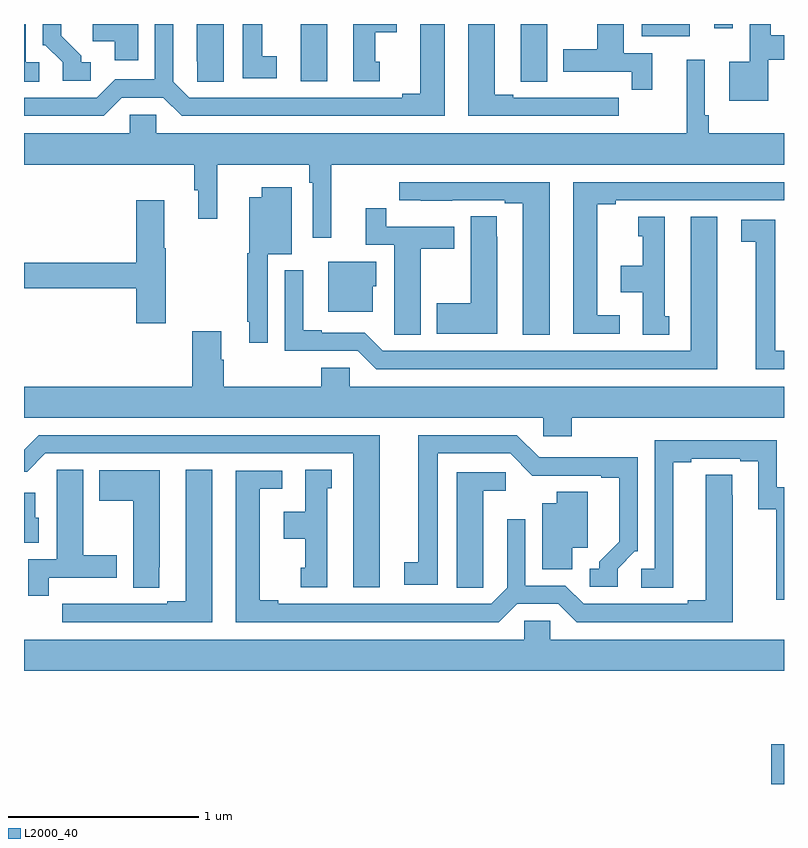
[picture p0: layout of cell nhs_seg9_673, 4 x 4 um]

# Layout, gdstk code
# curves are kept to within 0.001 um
import gdstk
lib = gdstk.Library(unit=1e-6, precision=1e-09)
def R(c, l, rs):  # rectangles x0, y0, x1, y1
    for r in rs: c.add(gdstk.rectangle(r[:2], r[2:], *l))
def P(c, l, *ps):  # polygons
    for p in ps: c.add(gdstk.Polygon(p, *l))
L2000_40 = (2000, 40)

nhs_seg9_673 = lib.new_cell('nhs_seg9_673')
R(nhs_seg9_673, L2000_40, [(148.934,1186.5,149,1186.708), (146.456,1190.199,146.596,1190.5), (148.25,1190.435,148.504,1190.5), (148.634,1190.478,148.731,1190.5)])
P(nhs_seg9_673, L2000_40, [(148.307,1190.346),(148.156,1190.346),(148.156,1190.5),(148.016,1190.5),(148.016,1190.367),(147.839,1190.367),(147.839,1190.25),(148.198,1190.25),(148.198,1190.154),(148.307,1190.154)],
  [(146.05,1190.5),(145.91,1190.5),(145.91,1190.305),(145.911,1190.305),(145.911,1190.197),(146.05,1190.197)],
  [(145.081,1190.298),(145.008,1190.298),(145.008,1190.5),(145,1190.5),(145,1190.197),(145.081,1190.197)],
  [(148.918,1190.312),(149,1190.312),(149,1190.442),(148.93,1190.442),(148.93,1190.5),(148.821,1190.5),(148.821,1190.302),(148.712,1190.302),(148.712,1190.096),(148.918,1190.096)],
  [(148.129,1190.112),(148.016,1190.112),(148.016,1190.113),(147.85,1190.113),(147.85,1190.112),(147.574,1190.112),(147.574,1190.127),(147.478,1190.127),(147.478,1190.5),(147.338,1190.5),(147.338,1190.016),(148.129,1190.016)],
  [(146.872,1190.301),(146.848,1190.301),(146.848,1190.456),(146.962,1190.456),(146.962,1190.5),(146.732,1190.5),(146.732,1190.199),(146.872,1190.199)],
  [(145.515,1190.112),(145.733,1190.112),(145.829,1190.016),(147.214,1190.016),(147.214,1190.5),(147.086,1190.5),(147.086,1190.132),(146.99,1190.132),(146.99,1190.112),(145.869,1190.112),(145.785,1190.196),(145.785,1190.5),(145.689,1190.5),(145.689,1190.208),(145.479,1190.208),(145.383,1190.112),(145,1190.112),(145,1190.016),(145.419,1190.016)],
  [(146.329,1190.33),(146.254,1190.33),(146.254,1190.5),(146.15,1190.5),(146.15,1190.214),(146.329,1190.214)],
  [(145.351,1190.298),(145.3,1190.298),(145.3,1190.333),(145.195,1190.438),(145.195,1190.5),(145.098,1190.5),(145.098,1190.388),(145.113,1190.388),(145.203,1190.298),(145.203,1190.202),(145.351,1190.202)],
  [(147.754,1190.5),(147.614,1190.5),(147.614,1190.305),(147.615,1190.305),(147.615,1190.197),(147.754,1190.197)],
  [(145.6,1190.5),(145.361,1190.5),(145.361,1190.408),(145.478,1190.408),(145.478,1190.31),(145.6,1190.31)],
  [(146.618,1189.76),(149,1189.76),(149,1189.924),(148.604,1189.924),(148.604,1190.02),(148.584,1190.02),(148.584,1190.311),(148.487,1190.311),(148.487,1189.924),(145.695,1189.924),(145.695,1190.022),(145.557,1190.022),(145.557,1189.924),(145,1189.924),(145,1189.76),(145.897,1189.76),(145.897,1189.626),(145.916,1189.626),(145.916,1189.476),(146.016,1189.476),(146.016,1189.76),(146.5,1189.76),(146.5,1189.664),(146.52,1189.664),(146.52,1189.374),(146.618,1189.374)],
  [(147.766,1189.668),(146.976,1189.668),(146.976,1189.572),(147.088,1189.572),(147.088,1189.571),(147.254,1189.571),(147.254,1189.572),(147.53,1189.572),(147.53,1189.557),(147.626,1189.557),(147.626,1188.865),(147.766,1188.865)],
  [(148.135,1188.966),(148.018,1188.966),(148.018,1189.552),(148.114,1189.552),(148.114,1189.572),(149,1189.572),(149,1189.668),(147.89,1189.668),(147.89,1188.87),(148.135,1188.87)],
  [(146.283,1189.289),(146.41,1189.289),(146.41,1189.642),(146.252,1189.642),(146.252,1189.588),(146.186,1189.588),(146.186,1189.293),(146.175,1189.293),(146.175,1188.934),(146.186,1188.934),(146.186,1188.822),(146.283,1188.822)],
  [(145.746,1189.321),(145.738,1189.321),(145.738,1189.573),(145.592,1189.573),(145.592,1189.244),(145,1189.244),(145,1189.108),(145.592,1189.108),(145.592,1188.924),(145.746,1188.924)],
  [(147.088,1189.318),(147.265,1189.318),(147.265,1189.434),(146.906,1189.434),(146.906,1189.531),(146.798,1189.531),(146.798,1189.338),(146.948,1189.338),(146.948,1188.976),(146.949,1188.976),(146.949,1188.865),(147.088,1188.865)],
  [(147.49,1189.379),(147.489,1189.379),(147.489,1189.487),(147.35,1189.487),(147.35,1189.029),(147.173,1189.029),(147.173,1188.869),(147.49,1188.869)],
  [(148.648,1189.486),(148.508,1189.486),(148.508,1188.78),(146.889,1188.78),(146.793,1188.876),(146.566,1188.876),(146.566,1188.889),(146.47,1188.889),(146.47,1189.204),(146.373,1189.204),(146.373,1188.78),(146.757,1188.78),(146.853,1188.684),(148.648,1188.684)],
  [(148.396,1188.963),(148.372,1188.963),(148.372,1189.486),(148.232,1189.486),(148.232,1189.383),(148.256,1189.383),(148.256,1189.228),(148.142,1189.228),(148.142,1189.088),(148.256,1189.088),(148.256,1188.865),(148.396,1188.865)],
  [(149,1188.78),(148.954,1188.78),(148.954,1189.47),(148.776,1189.47),(148.776,1189.354),(148.85,1189.354),(148.85,1188.684),(149,1188.684)],
  [(146.836,1189.119),(146.854,1189.119),(146.854,1189.249),(146.6,1189.249),(146.6,1188.986),(146.836,1188.986)],
  [(147.884,1188.428),(149,1188.428),(149,1188.592),(146.715,1188.592),(146.715,1188.69),(146.564,1188.69),(146.564,1188.592),(146.051,1188.592),(146.051,1188.734),(146.038,1188.734),(146.038,1188.883),(145.886,1188.883),(145.886,1188.592),(145,1188.592),(145,1188.428),(147.732,1188.428),(147.732,1188.33),(147.884,1188.33)],
  [(148.125,1187.634),(148.215,1187.724),(148.23,1187.724),(148.23,1188.221),(147.967,1188.221),(147.967,1188.219),(147.711,1188.219),(147.594,1188.336),(147.074,1188.336),(147.074,1187.666),(147,1187.666),(147,1187.55),(147.178,1187.55),(147.178,1188.24),(147.558,1188.24),(147.676,1188.122),(148.037,1188.123),(148.037,1188.111),(148.133,1188.111),(148.133,1187.774),(148.028,1187.669),(148.028,1187.634),(147.978,1187.634),(147.978,1187.538),(148.125,1187.538)],
  [(146.872,1188.336),(145.077,1188.336),(145,1188.259),(145,1188.144),(145.017,1188.144),(145.113,1188.24),(146.732,1188.24),(146.732,1187.535),(146.872,1187.535)],
  [(149,1188.063),(148.962,1188.063),(148.962,1188.309),(148.32,1188.309),(148.32,1187.634),(148.248,1187.634),(148.248,1187.533),(148.417,1187.533),(148.417,1188.193),(148.513,1188.193),(148.513,1188.213),(148.769,1188.213),(148.769,1188.198),(148.865,1188.198),(148.865,1187.947),(148.96,1187.947),(148.96,1187.469),(149,1187.469)],
  [(145.13,1187.586),(145.489,1187.586),(145.489,1187.703),(145.312,1187.703),(145.312,1188.155),(145.173,1188.155),(145.173,1188.044),(145.172,1188.044),(145.172,1187.682),(145.022,1187.682),(145.022,1187.49),(145.13,1187.49)],
  [(145.99,1188.155),(145.85,1188.155),(145.85,1187.463),(145.754,1187.463),(145.754,1187.448),(145.478,1187.448),(145.478,1187.449),(145.312,1187.449),(145.312,1187.448),(145.2,1187.448),(145.2,1187.352),(145.99,1187.352)],
  [(146.596,1188.057),(146.62,1188.057),(146.62,1188.155),(146.48,1188.155),(146.48,1187.932),(146.366,1187.932),(146.366,1187.792),(146.48,1187.792),(146.48,1187.637),(146.456,1187.637),(146.456,1187.535),(146.596,1187.535)],
  [(145.713,1187.641),(145.714,1187.641),(145.714,1188.151),(145.397,1188.151),(145.397,1187.992),(145.574,1187.992),(145.574,1187.533),(145.713,1187.533)],
  [(147.595,1187.448),(147.813,1187.448),(147.909,1187.352),(148.729,1187.352),(148.728,1188.128),(148.589,1188.128),(148.589,1187.468),(148.493,1187.468),(148.493,1187.448),(147.945,1187.448),(147.849,1187.544),(147.639,1187.544),(147.639,1187.893),(147.543,1187.893),(147.543,1187.532),(147.459,1187.448),(146.338,1187.448),(146.338,1187.468),(146.242,1187.468),(146.242,1188.054),(146.359,1188.054),(146.359,1188.15),(146.114,1188.15),(146.114,1187.352),(147.499,1187.352)],
  [(147.417,1187.641),(147.418,1187.641),(147.418,1188.044),(147.535,1188.044),(147.535,1188.141),(147.278,1188.141),(147.278,1187.533),(147.417,1187.533)],
  [(147.886,1187.744),(147.967,1187.744),(147.967,1188.038),(147.803,1188.038),(147.803,1187.977),(147.728,1187.977),(147.728,1187.629),(147.886,1187.629)],
  [(145.078,1187.901),(145.06,1187.901),(145.06,1188.034),(145,1188.034),(145,1187.771),(145.078,1187.771)],
  [(149,1187.26),(147.771,1187.26),(147.771,1187.358),(147.633,1187.358),(147.633,1187.26),(145,1187.26),(145,1187.096),(149,1187.096)])

lib.write_gds('nhs_seg9_673.gds')
